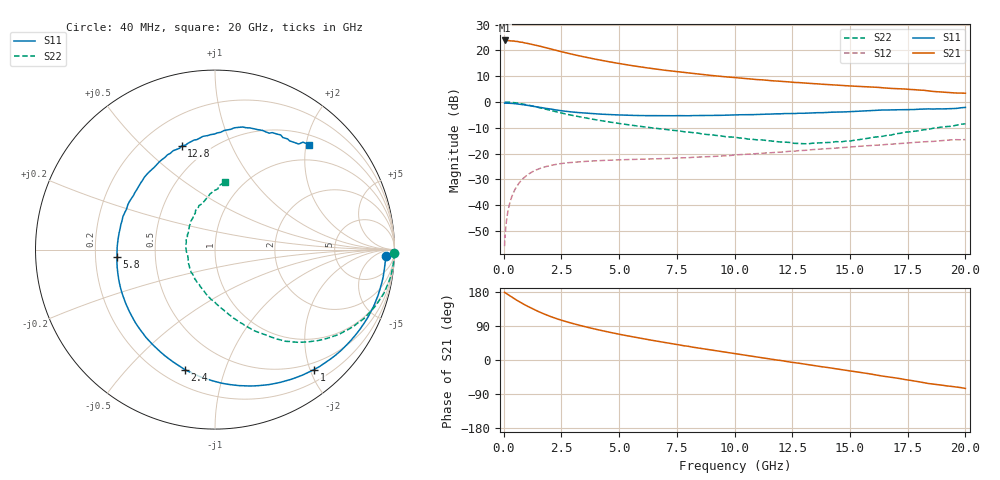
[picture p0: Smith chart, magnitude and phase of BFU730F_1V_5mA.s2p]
! Filename:  P:\Prog\Test\Noise\ATS_data\Testdata_Net\Split files Spar\BFU730_2W_B1_1V_1mA_30mA_Bias4_D.s2p
! Date/Time: Fri 29/Apr/2011 14:16:09
! BFU730_2W_B1_1V_1mA_30mA_Bias4_R.s2p
! MDIF S-parameter v. bias file
! BFU730_2W_B1_1V_1mA_30mA
! Date/time Thu Mar 17 14:34:31 2011
! VAR V_out= 1.0003
! VAR I_out= 5.0500
! VAR V_in= 0.7911
! VAR I_in= 0.0146
! Device data file deembeded for feedlines and parallel
! Original file: \Split files Spar\BFU730_2W_B1_1V_1mA_30mA_Bias4_R.s2p
! Feed-files: PR003V01_101208_Feed1.s2p, PR003V01_101208_Feed2.s2p
! Parallel-file: PR003V01_101208_Par.s2p
# MHz S MA R 50
!  Freq-MHz  S11-mag  S11-arg  S21-mag  S21-arg  S12-mag  S12-arg  S22-mag  S22-arg
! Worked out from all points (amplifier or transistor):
!   167 points, 40 MHz to 20 GHz, reference 50 ohm
!   highest |S21| = 23.9 dB at 50 MHz (marker M1)
!   |S21| within 3 dB of that: start of sweep to 1.92 GHz
!   unconditionally stable (mu >= 1): 7.124 GHz to 17.89 GHz
!   at 550 MHz: K = 0.07, MSG = 28.2 dB, |S12| = -32.9 dB
!   at 4.2 GHz: K = 0.61, MSG = 19.4 dB, |S12| = -22.7 dB
!   at 20 GHz: K = 0.88, MSG = 9.0 dB, |S12| = -14.6 dB
!   S11 on the Smith chart (normalised r, x): 40 MHz: 26, -19; 1 GHz: 0.38, -2.06; 2.4 GHz: 0.29, -0.74; 5.8 GHz: 0.29, -0.03; 12.8 GHz: 0.36, +0.66; 20 GHz: 0.67, +2.06
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40  0.9509 -2.1  15.54 178.6  0.001612 88.6  0.9977 -1.1
50  0.9532 -2.8  15.59 177.7  0.002541 85.6  0.9975 -1.4
60  0.9503 -3.1  15.39 177.5  0.002432 84.8  0.9982 -1.7
240  0.9457 -12.6  15.49 170.4  0.01003 83.7  0.9927 -7.3
600  0.916 -31.3  14.9 156.6  0.02445 72.5  0.9539 -18.0
800  0.8929 -41.2  14.39 149.5  0.03161 66.7  0.9222 -23.5
1000  0.8664 -50.5  13.76 142.9  0.03793 61.3  0.8852 -28.6
1350  0.817 -66.0  12.73 132.2  0.04703 53.1  0.8155 -36.4
1600  0.7825 -76.1  11.97 125.4  0.05226 48.1  0.7681 -41.2
2000  0.7315 -91.0  10.78 115.4  0.05854 41.3  0.6952 -48.0
2400  0.6895 -104.1  9.693 106.9  0.06327 35.9  0.628 -53.6
2800  0.6531 -115.5  8.762 99.5  0.06671 31.1  0.5715 -57.9
3400  0.6155 -130.6  7.635 89.8  0.07015 25.9  0.5076 -63.6
4400  0.576 -151.9  6.22 75.6  0.07411 19.8  0.4231 -71.7
5800  0.5478 -175.8  4.882 58.8  0.07759 14.2  0.3427 -81.5
6800  0.5423 170.2  4.232 48.1  0.07999 11.8  0.3019 -88.7
8600  0.5454 148.1  3.402 29.9  0.08611 8.6  0.2406 -104.5
10200  0.566 131.8  2.923 14.9  0.0953 6.7  0.2013 -121.8
12800  0.6071 107.8  2.378 -8.6  0.1146 0.6  0.1575 -162.5
13400  0.6151 102.8  2.274 -14.2  0.12 -2.0  0.1594 -175.3
16800  0.7054 74.0  1.833 -45.7  0.1524 -16.7  0.23 118.6
20000  0.7853 48.1  1.48 -75.1  0.1871 -35.9  0.378 81.8
